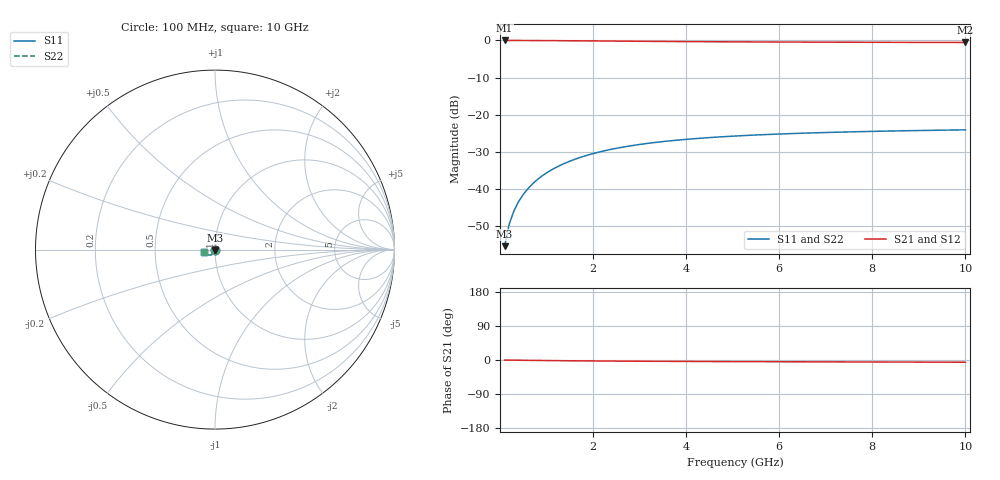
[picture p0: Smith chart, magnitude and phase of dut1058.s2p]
! Touchstone file exported from HFSS 2024.1.0
!  File:  C:/UserFiles/LocalFiles/RDL_TSV_Batchsim/temp_TSV1_1058_1780063219.aedt
!  Generated:  10:06:45 PM May 29, 2026
!  Design:  TSV1
!  Project:  temp_TSV1_1058_1780063219
!  Setup:  Setup1
!  Solution:  Sweep
! Variables:
!  dtsv = 11.57um
!  hbump = 3um
!  htsv = 93.33um
!  lrdl = 252.1521522um
!  p = 40
!  p1 = 45.54um
!  t = 500um
!  trdl = 3um
!  wrdl = 24.89489489um
# GHz S MA R 50.000000
! Terminal data exported
! Port[1] = TSV22_T1
! Port[2] = TSV22_T2
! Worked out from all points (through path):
!   100 points, 100 MHz to 10 GHz, reference 50 ohm
!   highest |S21| = 0.00 dB at 100 MHz (marker M1); lowest = -0.5 dB at 10 GHz (marker M2)
!   lowest |S11| = -55.5 dB at 100 MHz (marker M3), VSWR 1.00, Z = 50 - j0.168 ohm
!   |S11| at or under -10 dB: start of sweep to end of sweep
!   |S22| runs from -55.5 to -24.1 dB; largest |S21 - S12| = 6.3e-15
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0.1  0.001683 -87.4  0.9998 -0.1  0.9998 -0.1  0.001683 -87.4
! Gamma 0 0 0 0
! Port Impedance 50 0 50 0
0.2  0.00336 -90.9  0.9997 -0.3  0.9997 -0.3  0.00336 -90.9
0.3  0.005037 -93.2  0.9994 -0.4  0.9994 -0.4  0.005037 -93.2
0.4  0.006709 -95.1  0.9991 -0.6  0.9991 -0.6  0.006709 -95.1
0.5  0.008369 -96.8  0.9986 -0.7  0.9986 -0.7  0.008369 -96.8
0.6  0.01001 -98.5  0.9981 -0.9  0.9981 -0.9  0.01001 -98.5
0.7  0.01164 -100.2  0.9976 -1.0  0.9976 -1.0  0.01164 -100.2
0.8  0.01324 -101.9  0.9969 -1.1  0.9969 -1.1  0.01324 -101.9
0.9  0.01481 -103.5  0.9962 -1.3  0.9962 -1.3  0.01481 -103.5
1.1  0.01786 -106.6  0.9946 -1.5  0.9946 -1.5  0.01786 -106.6
1.4  0.02218 -111.0  0.9918 -1.9  0.9918 -1.9  0.02218 -111.0
1.6  0.02488 -113.8  0.9898 -2.1  0.9898 -2.1  0.02488 -113.8
1.8  0.02742 -116.5  0.9876 -2.3  0.9876 -2.3  0.02742 -116.5
2.1  0.03094 -120.2  0.9843 -2.6  0.9843 -2.6  0.03094 -120.2
2.5  0.03511 -124.9  0.98 -2.9  0.98 -2.9  0.03511 -124.9
2.9  0.03873 -129.1  0.9757 -3.2  0.9757 -3.2  0.03873 -129.1
3.4  0.04258 -133.7  0.9708 -3.5  0.9708 -3.5  0.04258 -133.7
4.2  0.04748 -140.1  0.9639 -3.9  0.9639 -3.9  0.04748 -140.1
5.1  0.05161 -146.0  0.9575 -4.2  0.9575 -4.2  0.05161 -146.0
6.7  0.05665 -154.1  0.9492 -4.8  0.9492 -4.8  0.05665 -154.1
8.4  0.0601 -160.7  0.9432 -5.4  0.9432 -5.4  0.0601 -160.7
10  0.06231 -165.7  0.9392 -5.9  0.9392 -5.9  0.06231 -165.7
